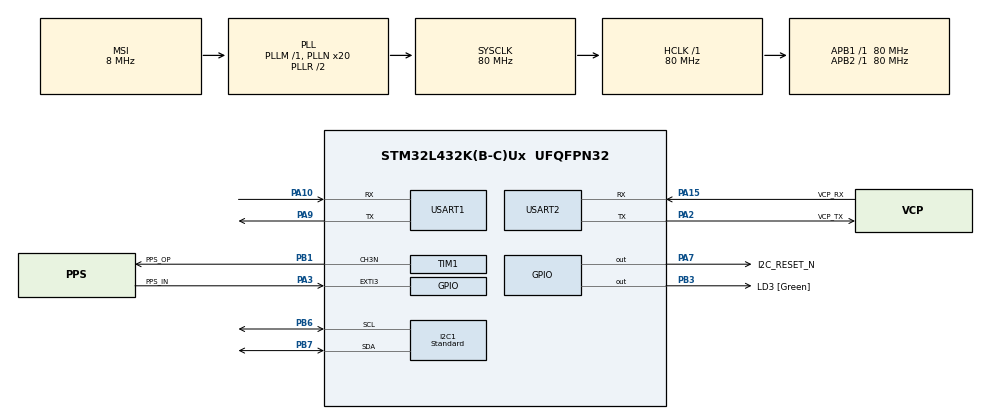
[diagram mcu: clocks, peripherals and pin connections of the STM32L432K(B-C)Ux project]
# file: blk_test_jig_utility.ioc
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FREERTOS.INCLUDE_vTaskDelayUntil=1
FREERTOS.Queues01=serialRxEvent,128,uint32_t,0,Dynamic,NULL,NULL;serialCmdTaskRxData,128,uint32_t,0,Dynamic,NULL,NULL;serialCmdTaskTxData,1024,uint32_t,0,Dynamic,NULL,NULL;uartDetectTaskRxData,128,uint32_t,0,Dynamic,NULL,NULL;uartDetectTaskTxData,16,uint32_t,0,Dynamic,NULL,NULL
FREERTOS.Tasks01=defaultTask,0,128,StartDefaultTask,Default,NULL,Dynamic,NULL,NULL;serialBufferTask,0,256,sbt_SerialBufferTask,As external,NULL,Dynamic,NULL,NULL;serialCmdTask,0,512,sct_SerialCmdTask,As external,NULL,Dynamic,NULL,NULL;ioTask,0,256,iot_IoTask,As external,NULL,Dynamic,NULL,NULL;uartDetectTask,0,128,iot_UartDetectTask,As external,uartDetectTaskRxDataHandle,Dynamic,NULL,NULL
FREERTOS.configMAX_TASK_NAME_LEN=32
FREERTOS.configTOTAL_HEAP_SIZE=16384
I2C1.I2C_Speed_Mode=I2C_Standard
I2C1.Speed=100
I2C1.Timing=0x10909CEC
Mcu.Family=STM32L4
Mcu.Name=STM32L432K(B-C)Ux
Mcu.Package=UFQFPN32
NVIC.EXTI3_IRQn=true\:5\:0\:true\:false\:true\:false\:true\:true\:true
NVIC.PriorityGroup=NVIC_PRIORITYGROUP_4
NVIC.TIM1_CC_IRQn=true\:5\:0\:true\:false\:true\:false\:true\:true\:true
NVIC.TIM1_UP_TIM16_IRQn=true\:0\:0\:false\:false\:true\:false\:false\:true\:true
NVIC.TimeBase=TIM1_UP_TIM16_IRQn
NVIC.TimeBaseIP=TIM16
NVIC.USART1_IRQn=true\:5\:0\:true\:false\:true\:false\:true\:true\:true
NVIC.USART2_IRQn=true\:5\:0\:true\:false\:true\:false\:true\:true\:true
PA0.GPIO_Label=MCO [High speed clock in]
PA0.Signal=RCC_CK_IN
PA10.Mode=Asynchronous
PA10.Signal=USART1_RX
PA13\ (JTMS-SWDIO).GPIO_Label=SWDIO
PA13\ (JTMS-SWDIO).Signal=SYS_JTMS-SWDIO
PA14\ (JTCK-SWCLK).GPIO_Label=SWCLK
PA14\ (JTCK-SWCLK).Signal=SYS_JTCK-SWCLK
PA15\ (JTDI).GPIO_Label=VCP_RX
PA15\ (JTDI).Mode=Asynchronous
PA15\ (JTDI).Signal=USART2_RX
PA2.GPIO_Label=VCP_TX
PA2.Mode=Asynchronous
PA2.Signal=USART2_TX
PA3.GPIO_Label=PPS_IN
PA3.Signal=GPXTI3
PA7.GPIO_Label=I2C_RESET_N
PA7.PinState=GPIO_PIN_SET
PA7.Signal=GPIO_Output
PA9.Mode=Asynchronous
PA9.Signal=USART1_TX
PB1.GPIO_Label=PPS_OP
PB1.GPIO_PuPd=GPIO_PULLDOWN
PB1.Mode=PWM Generation3 CH3N
PB1.Signal=TIM1_CH3N
PB3\ (JTDO-TRACESWO).GPIO_Label=LD3 [Green]
PB3\ (JTDO-TRACESWO).Signal=GPIO_Output
PB6.Mode=I2C
PB6.Signal=I2C1_SCL
PB7.Mode=I2C
PB7.Signal=I2C1_SDA
PC14-OSC32_IN\ (PC14).Mode=LSE-External-Oscillator
PC14-OSC32_IN\ (PC14).Signal=RCC_OSC32_IN
PC15-OSC32_OUT\ (PC15).Mode=LSE-External-Oscillator
PC15-OSC32_OUT\ (PC15).Signal=RCC_OSC32_OUT
ProjectManager.HeapSize=0x200
ProjectManager.StackSize=0x400
ProjectManager.TargetToolchain=STM32CubeIDE
RCC.ADCFreq_Value=32000000
RCC.AHBFreq_Value=80000000
RCC.APB1Freq_Value=80000000
RCC.APB1TimFreq_Value=80000000
RCC.APB2Freq_Value=80000000
RCC.APB2TimFreq_Value=80000000
RCC.CortexFreq_Value=80000000
RCC.HCLKFreq_Value=80000000
RCC.HSE_VALUE=8000000
RCC.HSI16_VALUE=16000000
RCC.HSI48_VALUE=48000000
RCC.HSI_VALUE=16000000
RCC.MSIClockRange=RCC_MSIRANGE_7
RCC.MSI_VALUE=8000000
RCC.PLLMUL=RCC_PLLMUL_4
RCC.PLLN=20
RCC.SYSCLKFreq_VALUE=80000000
RCC.SYSCLKSource=RCC_SYSCLKSOURCE_PLLCLK
RCC.USBFreq_Value=32000000
RCC.VCOOutputFreq_Value=160000000
TIM1.Channel-PWM\ Generation3\ CH3N=TIM_CHANNEL_3
TIM1.OCFastMode_PWM-PWM\ Generation3\ CH3N=TIM_OCFAST_ENABLE
TIM1.OCNIdleState_3=TIM_OCNIDLESTATE_RESET
TIM1.OCNPolarity_3=TIM_OCNPOLARITY_HIGH
TIM1.Period=10000
TIM1.Prescaler=8000
TIM1.Pulse-PWM\ Generation3\ CH3N=100
USART1.DataInvertParam=ADVFEATURE_DATAINV_DISABLE
USART1.RxPinLevelInvertParam=ADVFEATURE_RXINV_ENABLE
USART1.VirtualMode-Asynchronous=VM_ASYNC
USART2.RxPinLevelInvertParam=ADVFEATURE_RXINV_DISABLE
USART2.VirtualMode-Asynchronous=VM_ASYNC
VP_FREERTOS_VS_CMSIS_V1.Mode=CMSIS_V1
VP_SYS_VS_tim16.Mode=TIM16
VP_TIM1_VS_ClockSourceINT.Mode=Internal
board=NUCLEO-L432KC

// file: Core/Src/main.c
/* USER CODE BEGIN Header */
/**
  ******************************************************************************
  * @file           : main.c
  * @brief          : Main program body
  ******************************************************************************
  * @attention
  *
  * <h2><center>&copy; Copyright (c) 2022 STMicroelectronics.
  * All rights reserved.</center></h2>
  *
  * This software component is licensed by ST under BSD 3-Clause license,
  * the "License"; You may not use this file except in compliance with the
  * License. You may obtain a copy of the License at:
  *                        opensource.org/licenses/BSD-3-Clause
  *
  ******************************************************************************
  */
/* USER CODE END Header */
#include "main.h"
#include "cmsis_os.h"

/* USER CODE BEGIN Includes */
#include <string.h>
#include "serial_buffer_task.h"
#include "serial_cmd_task.h"
#include "io_task.h"
/* USER CODE END Includes */

I2C_HandleTypeDef hi2c1;

TIM_HandleTypeDef htim1;

UART_HandleTypeDef huart1;
UART_HandleTypeDef huart2;

osThreadId defaultTaskHandle;
osThreadId serialBufferTaskHandle;
osThreadId serialCmdTaskHandle;
osThreadId ioTaskHandle;
osThreadId uartDetectTaskHandle;
osMessageQId serialRxEventHandle;
osMessageQId serialCmdTaskRxDataHandle;
osMessageQId serialCmdTaskTxDataHandle;
osMessageQId uartDetectTaskRxDataHandle;
osMessageQId uartDetectTaskTxDataHandle;

void SystemClock_Config(void);
static void MX_GPIO_Init(void);
static void MX_I2C1_Init(void);
static void MX_USART1_UART_Init(void);
static void MX_USART2_UART_Init(void);
static void MX_TIM1_Init(void);
void StartDefaultTask(void const * argument);
extern void sbt_SerialBufferTask(void const * argument);
extern void sct_SerialCmdTask(void const * argument);
extern void iot_IoTask(void const * argument);
extern void iot_UartDetectTask(void const * argument);

int main(void)
{
  /* USER CODE BEGIN 1 */
  sct_Init_t sct_init_data;
  sbt_Init_t sbt_init_data;
  iot_Init_t iot_init_data;
  /* USER CODE END 1 */

  /* MCU Configuration--------------------------------------------------------*/

  /* Reset of all peripherals, Initializes the Flash interface and the Systick. */
  HAL_Init();

  /* Configure the system clock */
  SystemClock_Config();

  /* Initialize all configured peripherals */
  MX_GPIO_Init();
  MX_I2C1_Init();
  MX_USART1_UART_Init();
  MX_USART2_UART_Init();
  MX_TIM1_Init();

  /* Create the queue(s) */
  /* definition and creation of serialRxEvent */
  osMessageQDef(serialRxEvent, 128, uint32_t);
  serialRxEventHandle = osMessageCreate(osMessageQ(serialRxEvent), NULL);

  /* definition and creation of serialCmdTaskRxData */
  osMessageQDef(serialCmdTaskRxData, 128, uint32_t);
  serialCmdTaskRxDataHandle = osMessageCreate(osMessageQ(serialCmdTaskRxData), NULL);

  /* definition and creation of serialCmdTaskTxData */
  osMessageQDef(serialCmdTaskTxData, 1024, uint32_t);
  serialCmdTaskTxDataHandle = osMessageCreate(osMessageQ(serialCmdTaskTxData), NULL);

  /* definition and creation of uartDetectTaskRxData */
  osMessageQDef(uartDetectTaskRxData, 128, uint32_t);
  uartDetectTaskRxDataHandle = osMessageCreate(osMessageQ(uartDetectTaskRxData), NULL);

  /* definition and creation of uartDetectTaskTxData */
  osMessageQDef(uartDetectTaskTxData, 16, uint32_t);
  uartDetectTaskTxDataHandle = osMessageCreate(osMessageQ(uartDetectTaskTxData), NULL);

  /* Create the thread(s) */
  /* definition and creation of defaultTask */
  osThreadDef(defaultTask, StartDefaultTask, osPriorityNormal, 0, 128);
  defaultTaskHandle = osThreadCreate(osThread(defaultTask), NULL);

  /* definition and creation of serialBufferTask */
  osThreadDef(serialBufferTask, sbt_SerialBufferTask, osPriorityNormal, 0, 256);
  serialBufferTaskHandle = osThreadCreate(osThread(serialBufferTask), NULL);

  /* definition and creation of serialCmdTask */
  osThreadDef(serialCmdTask, sct_SerialCmdTask, osPriorityNormal, 0, 512);
  serialCmdTaskHandle = osThreadCreate(osThread(serialCmdTask), NULL);

  /* definition and creation of ioTask */
  osThreadDef(ioTask, iot_IoTask, osPriorityNormal, 0, 256);
  ioTaskHandle = osThreadCreate(osThread(ioTask), NULL);

  /* definition and creation of uartDetectTask */
  osThreadDef(uartDetectTask, iot_UartDetectTask, osPriorityNormal, 0, 128);
  uartDetectTaskHandle = osThreadCreate(osThread(uartDetectTask), (void*) uartDetectTaskRxDataHandle);

  /* USER CODE BEGIN RTOS_THREADS */
  /* add threads, ... */
  sbt_init_data.rx_event_queue				= serialRxEventHandle;
  sbt_init_data.no_uarts					= 2;
  sbt_init_data.uarts[0].huart 				= &huart2;
  sbt_init_data.uarts[0].uart_rx_data_queue	= serialCmdTaskRxDataHandle;
  sbt_init_data.uarts[0].uart_tx_data_queue = serialCmdTaskTxDataHandle;
  sbt_init_data.uarts[1].huart 				= &huart1;
  sbt_init_data.uarts[1].uart_rx_data_queue	= uartDetectTaskRxDataHandle;
  sbt_init_data.uarts[1].uart_tx_data_queue = uartDetectTaskTxDataHandle;
  sbt_InitTask(sbt_init_data);

  sct_init_data.tx_data_queue	= serialCmdTaskTxDataHandle;
  sct_init_data.rx_data_queue	= serialCmdTaskRxDataHandle;
  sct_InitTask(sct_init_data);

  iot_init_data.i2c_device			= &hi2c1;
  iot_init_data.i2c_reset_gpio_port = I2C_RESET_N_GPIO_Port;
  iot_init_data.i2c_reset_gpio_pin	= I2C_RESET_N_Pin;
  iot_init_data.blk_1pps_out_htim = &htim1;
  iot_init_data.blk_1pps_out_channel = TIM_CHANNEL_3;
  iot_init_data.blk_1pps_in_gpio_pin = PPS_IN_Pin;
  iot_init_data.blk_1pps_in_gpio_irq = PPS_IN_EXTI_IRQn;
  iot_InitTask(iot_init_data);
  /* USER CODE END RTOS_THREADS */

  /* Start scheduler */
  osKernelStart();

  /* We should never get here as control is now taken by the scheduler */
  /* Infinite loop */
  while (1)
  {

  }
}

void SystemClock_Config(void)
{
  RCC_OscInitTypeDef RCC_OscInitStruct = {0};
  RCC_ClkInitTypeDef RCC_ClkInitStruct = {0};
  RCC_PeriphCLKInitTypeDef PeriphClkInit = {0};

  /** Configure LSE Drive Capability
  */
  HAL_PWR_EnableBkUpAccess();
  __HAL_RCC_LSEDRIVE_CONFIG(RCC_LSEDRIVE_LOW);
  /** Initializes the RCC Oscillators according to the specified parameters
  * in the RCC_OscInitTypeDef structure.
  */
  RCC_OscInitStruct.OscillatorType = RCC_OSCILLATORTYPE_LSE|RCC_OSCILLATORTYPE_MSI;
  RCC_OscInitStruct.LSEState = RCC_LSE_ON;
  RCC_OscInitStruct.MSIState = RCC_MSI_ON;
  RCC_OscInitStruct.MSICalibrationValue = 0;
  RCC_OscInitStruct.MSIClockRange = RCC_MSIRANGE_7;
  RCC_OscInitStruct.PLL.PLLState = RCC_PLL_ON;
  RCC_OscInitStruct.PLL.PLLSource = RCC_PLLSOURCE_MSI;
  RCC_OscInitStruct.PLL.PLLM = 1;
  RCC_OscInitStruct.PLL.PLLN = 20;
  RCC_OscInitStruct.PLL.PLLP = RCC_PLLP_DIV7;
  RCC_OscInitStruct.PLL.PLLQ = RCC_PLLQ_DIV2;
  RCC_OscInitStruct.PLL.PLLR = RCC_PLLR_DIV2;
  if (HAL_RCC_OscConfig(&RCC_OscInitStruct) != HAL_OK)
  {
    Error_Handler();
  }
  /** Initializes the CPU, AHB and APB buses clocks
  */
  RCC_ClkInitStruct.ClockType = RCC_CLOCKTYPE_HCLK|RCC_CLOCKTYPE_SYSCLK
                              |RCC_CLOCKTYPE_PCLK1|RCC_CLOCKTYPE_PCLK2;
  RCC_ClkInitStruct.SYSCLKSource = RCC_SYSCLKSOURCE_PLLCLK;
  RCC_ClkInitStruct.AHBCLKDivider = RCC_SYSCLK_DIV1;
  RCC_ClkInitStruct.APB1CLKDivider = RCC_HCLK_DIV1;
  RCC_ClkInitStruct.APB2CLKDivider = RCC_HCLK_DIV1;

  if (HAL_RCC_ClockConfig(&RCC_ClkInitStruct, FLASH_LATENCY_4) != HAL_OK)
  {
    Error_Handler();
  }
  PeriphClkInit.PeriphClockSelection = RCC_PERIPHCLK_USART1|RCC_PERIPHCLK_USART2
                              |RCC_PERIPHCLK_I2C1;
  PeriphClkInit.Usart1ClockSelection = RCC_USART1CLKSOURCE_PCLK2;
  PeriphClkInit.Usart2ClockSelection = RCC_USART2CLKSOURCE_PCLK1;
  PeriphClkInit.I2c1ClockSelection = RCC_I2C1CLKSOURCE_PCLK1;
  if (HAL_RCCEx_PeriphCLKConfig(&PeriphClkInit) != HAL_OK)
  {
    Error_Handler();
  }
  /** Configure the main internal regulator output voltage
  */
  if (HAL_PWREx_ControlVoltageScaling(PWR_REGULATOR_VOLTAGE_SCALE1) != HAL_OK)
  {
    Error_Handler();
  }
  /** Enable MSI Auto calibration
  */
  HAL_RCCEx_EnableMSIPLLMode();
}

static void MX_I2C1_Init(void)
{

  hi2c1.Instance = I2C1;
  hi2c1.Init.Timing = 0x10909CEC;
  hi2c1.Init.OwnAddress1 = 0;
  hi2c1.Init.AddressingMode = I2C_ADDRESSINGMODE_7BIT;
  hi2c1.Init.DualAddressMode = I2C_DUALADDRESS_DISABLE;
  hi2c1.Init.OwnAddress2 = 0;
  hi2c1.Init.OwnAddress2Masks = I2C_OA2_NOMASK;
  hi2c1.Init.GeneralCallMode = I2C_GENERALCALL_DISABLE;
  hi2c1.Init.NoStretchMode = I2C_NOSTRETCH_DISABLE;
  if (HAL_I2C_Init(&hi2c1) != HAL_OK)
  {
    Error_Handler();
  }
  /** Configure Analogue filter
  */
  if (HAL_I2CEx_ConfigAnalogFilter(&hi2c1, I2C_ANALOGFILTER_ENABLE) != HAL_OK)
  {
    Error_Handler();
  }
  /** Configure Digital filter
  */
  if (HAL_I2CEx_ConfigDigitalFilter(&hi2c1, 0) != HAL_OK)
  {
    Error_Handler();
  }

}

static void MX_TIM1_Init(void)
{

  TIM_ClockConfigTypeDef sClockSourceConfig = {0};
  TIM_MasterConfigTypeDef sMasterConfig = {0};
  TIM_OC_InitTypeDef sConfigOC = {0};
  TIM_BreakDeadTimeConfigTypeDef sBreakDeadTimeConfig = {0};

  htim1.Instance = TIM1;
  htim1.Init.Prescaler = 8000;
  htim1.Init.CounterMode = TIM_COUNTERMODE_UP;
  htim1.Init.Period = 10000;
  htim1.Init.ClockDivision = TIM_CLOCKDIVISION_DIV1;
  htim1.Init.RepetitionCounter = 0;
  htim1.Init.AutoReloadPreload = TIM_AUTORELOAD_PRELOAD_DISABLE;
  if (HAL_TIM_Base_Init(&htim1) != HAL_OK)
  {
    Error_Handler();
  }
  sClockSourceConfig.ClockSource = TIM_CLOCKSOURCE_INTERNAL;
  if (HAL_TIM_ConfigClockSource(&htim1, &sClockSourceConfig) != HAL_OK)
  {
    Error_Handler();
  }
  if (HAL_TIM_PWM_Init(&htim1) != HAL_OK)
  {
    Error_Handler();
  }
  sMasterConfig.MasterOutputTrigger = TIM_TRGO_RESET;
  sMasterConfig.MasterOutputTrigger2 = TIM_TRGO2_RESET;
  sMasterConfig.MasterSlaveMode = TIM_MASTERSLAVEMODE_DISABLE;
  if (HAL_TIMEx_MasterConfigSynchronization(&htim1, &sMasterConfig) != HAL_OK)
  {
    Error_Handler();
  }
  sConfigOC.OCMode = TIM_OCMODE_PWM1;
  sConfigOC.Pulse = 100;
  sConfigOC.OCPolarity = TIM_OCPOLARITY_HIGH;
  sConfigOC.OCNPolarity = TIM_OCNPOLARITY_HIGH;
  sConfigOC.OCFastMode = TIM_OCFAST_ENABLE;
  sConfigOC.OCIdleState = TIM_OCIDLESTATE_RESET;
  sConfigOC.OCNIdleState = TIM_OCNIDLESTATE_RESET;
  if (HAL_TIM_PWM_ConfigChannel(&htim1, &sConfigOC, TIM_CHANNEL_3) != HAL_OK)
  {
    Error_Handler();
  }
  sBreakDeadTimeConfig.OffStateRunMode = TIM_OSSR_DISABLE;
  sBreakDeadTimeConfig.OffStateIDLEMode = TIM_OSSI_DISABLE;
  sBreakDeadTimeConfig.LockLevel = TIM_LOCKLEVEL_OFF;
  sBreakDeadTimeConfig.DeadTime = 0;
  sBreakDeadTimeConfig.BreakState = TIM_BREAK_DISABLE;
  sBreakDeadTimeConfig.BreakPolarity = TIM_BREAKPOLARITY_HIGH;
  sBreakDeadTimeConfig.BreakFilter = 0;
  sBreakDeadTimeConfig.Break2State = TIM_BREAK2_DISABLE;
  sBreakDeadTimeConfig.Break2Polarity = TIM_BREAK2POLARITY_HIGH;
  sBreakDeadTimeConfig.Break2Filter = 0;
  sBreakDeadTimeConfig.AutomaticOutput = TIM_AUTOMATICOUTPUT_DISABLE;
  if (HAL_TIMEx_ConfigBreakDeadTime(&htim1, &sBreakDeadTimeConfig) != HAL_OK)
  {
    Error_Handler();
  }
  HAL_TIM_MspPostInit(&htim1);

}

static void MX_USART1_UART_Init(void)
{

  huart1.Instance = USART1;
  huart1.Init.BaudRate = 115200;
  huart1.Init.WordLength = UART_WORDLENGTH_8B;
  huart1.Init.StopBits = UART_STOPBITS_1;
  huart1.Init.Parity = UART_PARITY_NONE;
  huart1.Init.Mode = UART_MODE_TX_RX;
  huart1.Init.HwFlowCtl = UART_HWCONTROL_NONE;
  huart1.Init.OverSampling = UART_OVERSAMPLING_16;
  huart1.Init.OneBitSampling = UART_ONE_BIT_SAMPLE_DISABLE;
  huart1.AdvancedInit.AdvFeatureInit = UART_ADVFEATURE_RXINVERT_INIT;
  huart1.AdvancedInit.RxPinLevelInvert = UART_ADVFEATURE_RXINV_ENABLE;
  if (HAL_UART_Init(&huart1) != HAL_OK)
  {
    Error_Handler();
  }

}

static void MX_USART2_UART_Init(void)
{

  huart2.Instance = USART2;
  huart2.Init.BaudRate = 115200;
  huart2.Init.WordLength = UART_WORDLENGTH_8B;
  huart2.Init.StopBits = UART_STOPBITS_1;
  huart2.Init.Parity = UART_PARITY_NONE;
  huart2.Init.Mode = UART_MODE_TX_RX;
  huart2.Init.HwFlowCtl = UART_HWCONTROL_NONE;
  huart2.Init.OverSampling = UART_OVERSAMPLING_16;
  huart2.Init.OneBitSampling = UART_ONE_BIT_SAMPLE_DISABLE;
  huart2.AdvancedInit.AdvFeatureInit = UART_ADVFEATURE_NO_INIT;
  if (HAL_UART_Init(&huart2) != HAL_OK)
  {
    Error_Handler();
  }

}

static void MX_GPIO_Init(void)
{
  GPIO_InitTypeDef GPIO_InitStruct = {0};

  /* GPIO Ports Clock Enable */
  __HAL_RCC_GPIOC_CLK_ENABLE();
  __HAL_RCC_GPIOA_CLK_ENABLE();
  __HAL_RCC_GPIOB_CLK_ENABLE();

  /*Configure GPIO pin Output Level */
  HAL_GPIO_WritePin(I2C_RESET_N_GPIO_Port, I2C_RESET_N_Pin, GPIO_PIN_SET);

  /*Configure GPIO pin Output Level */
  HAL_GPIO_WritePin(LD3_GPIO_Port, LD3_Pin, GPIO_PIN_RESET);

  /*Configure GPIO pin : PPS_IN_Pin */
  GPIO_InitStruct.Pin = PPS_IN_Pin;
  GPIO_InitStruct.Mode = GPIO_MODE_IT_RISING;
  GPIO_InitStruct.Pull = GPIO_NOPULL;
  HAL_GPIO_Init(PPS_IN_GPIO_Port, &GPIO_InitStruct);

  /*Configure GPIO pin : I2C_RESET_N_Pin */
  GPIO_InitStruct.Pin = I2C_RESET_N_Pin;
  GPIO_InitStruct.Mode = GPIO_MODE_OUTPUT_PP;
  GPIO_InitStruct.Pull = GPIO_NOPULL;
  GPIO_InitStruct.Speed = GPIO_SPEED_FREQ_LOW;
  HAL_GPIO_Init(I2C_RESET_N_GPIO_Port, &GPIO_InitStruct);

  /*Configure GPIO pin : LD3_Pin */
  GPIO_InitStruct.Pin = LD3_Pin;
  GPIO_InitStruct.Mode = GPIO_MODE_OUTPUT_PP;
  GPIO_InitStruct.Pull = GPIO_NOPULL;
  GPIO_InitStruct.Speed = GPIO_SPEED_FREQ_LOW;
  HAL_GPIO_Init(LD3_GPIO_Port, &GPIO_InitStruct);

  /* EXTI interrupt init*/
  HAL_NVIC_SetPriority(EXTI3_IRQn, 5, 0);
  HAL_NVIC_EnableIRQ(EXTI3_IRQn);

}

void StartDefaultTask(void const * argument)
{
  for(;;)
  {
    osDelay(1);
  }
}

void HAL_TIM_PeriodElapsedCallback(TIM_HandleTypeDef *htim)
{
  if (htim->Instance == TIM16) {
    HAL_IncTick();
  }
}

void Error_Handler(void)
{
}

/************************ (C) COPYRIGHT STMicroelectronics *****END OF FILE****/
